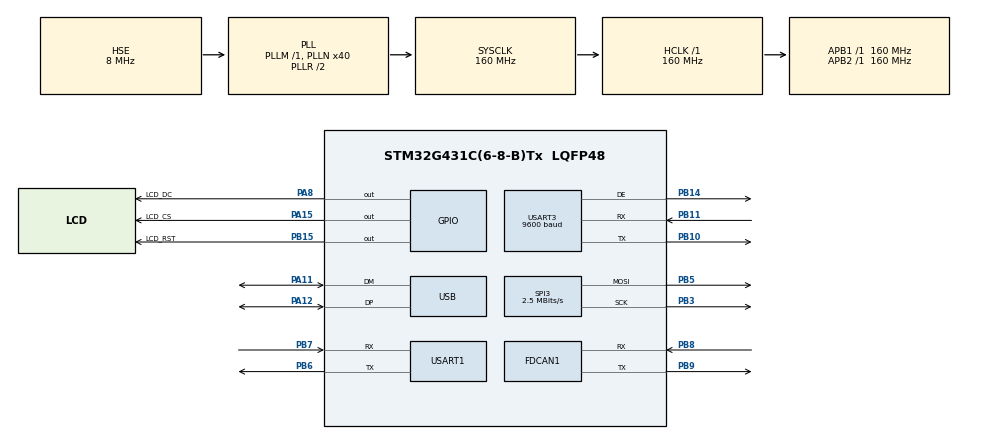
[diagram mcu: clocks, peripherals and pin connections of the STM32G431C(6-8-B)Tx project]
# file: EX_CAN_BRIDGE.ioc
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FDCAN1.CalculateBaudRateNominal=500000
FDCAN1.CalculateTimeBitNominal=2000
FDCAN1.CalculateTimeQuantumNominal=100.0
FDCAN1.ClockDivider=FDCAN_CLOCK_DIV2
FDCAN1.FrameFormat=FDCAN_FRAME_FD_BRS
FDCAN1.Mode=FDCAN_MODE_NORMAL
FDCAN1.NominalPrescaler=8
FDCAN1.NominalTimeSeg1=13
FDCAN1.NominalTimeSeg2=6
FDCAN1.StdFiltersNbr=1
Mcu.Family=STM32G4
Mcu.Name=STM32G431C(6-8-B)Tx
Mcu.Package=LQFP48
NVIC.FDCAN1_IT0_IRQn=true\:0\:0\:false\:false\:true\:true\:true\:true
NVIC.FDCAN1_IT1_IRQn=true\:0\:0\:false\:false\:true\:true\:true\:true
NVIC.PriorityGroup=NVIC_PRIORITYGROUP_4
NVIC.USART1_IRQn=true\:0\:0\:false\:false\:true\:true\:true\:true
NVIC.USART3_IRQn=true\:0\:0\:false\:false\:true\:true\:true\:true
PA11.Mode=Device
PA11.Signal=USB_DM
PA12.Mode=Device
PA12.Signal=USB_DP
PA15.GPIO_Label=LCD_CS
PA15.Signal=GPIO_Output
PA8.GPIO_Label=LCD_DC
PA8.Signal=GPIO_Output
PB10.Mode=Asynchronous
PB10.Signal=USART3_TX
PB11.Mode=Asynchronous
PB11.Signal=USART3_RX
PB14.Mode=Hardware Flow Control (RS485)
PB14.Signal=USART3_DE
PB15.GPIO_Label=LCD_RST
PB15.Signal=GPIO_Output
PB3.Mode=TX_Only_Simplex_Unidirect_Master
PB3.Signal=SPI3_SCK
PB5.Mode=TX_Only_Simplex_Unidirect_Master
PB5.Signal=SPI3_MOSI
PB6.Mode=Asynchronous
PB6.Signal=USART1_TX
PB7.Mode=Asynchronous
PB7.Signal=USART1_RX
PB8-BOOT0.Mode=FDCAN_Activate
PB8-BOOT0.Signal=FDCAN1_RX
PB9.Mode=FDCAN_Activate
PB9.Signal=FDCAN1_TX
PF0-OSC_IN.Mode=HSE-External-Oscillator
PF0-OSC_IN.Signal=RCC_OSC_IN
PF1-OSC_OUT.Mode=HSE-External-Oscillator
PF1-OSC_OUT.Signal=RCC_OSC_OUT
ProjectManager.HeapSize=0x200
ProjectManager.StackSize=0x400
ProjectManager.TargetToolchain=STM32CubeIDE
RCC.ADC12Freq_Value=160000000
RCC.AHBFreq_Value=160000000
RCC.APB1Freq_Value=160000000
RCC.APB1TimFreq_Value=160000000
RCC.APB2Freq_Value=160000000
RCC.APB2TimFreq_Value=160000000
RCC.CK48CLockSelection=RCC_USBCLKSOURCE_HSI48
RCC.CortexFreq_Value=160000000
RCC.EXTERNAL_CLOCK_VALUE=12288000
RCC.HCLKFreq_Value=160000000
RCC.HSE_VALUE=8000000
RCC.HSI48_VALUE=48000000
RCC.HSI_VALUE=16000000
RCC.LSE_VALUE=32768
RCC.PLLN=40
RCC.PLLSourceVirtual=RCC_PLLSOURCE_HSE
RCC.SYSCLKFreq_VALUE=160000000
RCC.SYSCLKSource=RCC_SYSCLKSOURCE_PLLCLK
RCC.USBFreq_Value=48000000
RCC.VCOOutputFreq_Value=320000000
SPI3.BaudRatePrescaler=SPI_BAUDRATEPRESCALER_64
SPI3.CalculateBaudRate=2.5 MBits/s
SPI3.DataSize=SPI_DATASIZE_8BIT
SPI3.Direction=SPI_DIRECTION_2LINES
SPI3.Mode=SPI_MODE_MASTER
SPI3.VirtualType=VM_MASTER
USART1.VirtualMode-Asynchronous=VM_ASYNC
USART3.BaudRate=9600
USART3.VirtualMode-Asynchronous=VM_ASYNC
USART3.VirtualMode-Hardware\ Flow\ Control\ (RS485)=VM_ASYNC
VP_SYS_VS_DBSignals.Mode=DisableDeadBatterySignals
board=custom

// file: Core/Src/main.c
/* USER CODE BEGIN Header */
/**
 ******************************************************************************
 * @file           : main.c
 * @brief          : Main program body - Modbus RTU to FDCAN Bridge
 ******************************************************************************
 * @attention
 *
 * Copyright (c) 2025 STMicroelectronics.
 * All rights reserved.
 *
 * This software is licensed under terms that can be found in the LICENSE file
 * in the root directory of this software component.
 * If no LICENSE file comes with this software, it is provided AS-IS.
 *
 ******************************************************************************
 */
/*
 * JXBS-J001-FS-RS 풍량센서 (Modbus RTU) ↔ FDCAN 브릿지
 * Modbus RTU 프로토콜로 풍량센서와 통신하여 FDCAN으로 전송
 */
/* USER CODE END Header */
#include "main.h"
#include "fdcan.h"
#include "spi.h"
#include "usart.h"
#include "usb.h"
#include "gpio.h"
/* USER CODE BEGIN Includes */
#include "oled.h"
#include "font.h"
#include <stdio.h>
#include <string.h>
/* USER CODE END Includes */
/* USER CODE BEGIN PD */

/* Modbus RTU 프로토콜 정의 */
#define MODBUS_SLAVE_ADDR       0x01    // 풍량센서 기본 주소
#define MODBUS_FUNC_READ_HOLD   0x03    // Modbus 기능코드 (0x03은 레지스터 읽기)
/* 풍량센서 레지스터 주소 */
#define WIND_SPEED_REG          0x0000  // 풍속 레지스터 (데이터 시트 참조)
// 위 세 값을 기반으로 센서에게 데이터 요청!!

/* 프레임 크기 정의 */
#define MODBUS_REQUEST_SIZE     8       // 모드버스 요청 프레임 크기
#define MODBUS_RESPONSE_MAX     256     // 모드버스 응답 최대 크기

/* USER CODE END PD */
/* USER CODE BEGIN PV */

/* Modbus RTU 요청 프레임 구조체 */
typedef struct
{
    uint8_t slave_addr;      // 슬레이브 주소
    uint8_t function_code;   // 기능 코드
    uint16_t start_addr;     // 시작 레지스터 주소 (빅엔디안)
    uint16_t register_count; // 레지스터 개수 (빅엔디안) ( 풍속값만 받아올것이므로 사실상 1 )
    uint16_t crc;           // CRC16 (리틀엔디안) (빅엔디안도 상관없지만, 공식적으로는 이렇게 쓰고있습니다.)
} __attribute__((packed)) Modbus_Request_t;

/* Modbus RTU 응답 프레임 구조체 */
typedef struct
{
    uint8_t slave_addr;     // 슬레이브 주소
    uint8_t function_code;  // 기능 코드
    uint8_t byte_count;     // 데이터 바이트 수
    uint8_t data[64];       // 레지스터 데이터
    uint16_t crc;          // CRC16 (리틀엔디안)
} __attribute__((packed)) Modbus_Response_t;

// 센서 데이터 저장
typedef struct
{
    float wind_speed;    // 풍속 (m/s)
    float temperature;   // 온도 (°C)
    uint32_t timestamp;  // 타임스탬프
    uint8_t valid;       // 데이터 유효성
} Wind_Sensor_Data_t; //센서에서 읽어온 데이터를 저장하는 구조체입니다.

Wind_Sensor_Data_t sensor_data = {0}; // 센서 데이터를 저장

// Modbus RTU 관련 변수
uint8_t modbus_rx_buffer[MODBUS_RESPONSE_MAX]; // UART로 받은 Modbus 응답을 저장하는 버퍼
static uint16_t modbus_rx_index = 0; // 현재 버퍼에 저장된 바이트 수
static uint8_t modbus_frame_ready = 0; // 완전한 프레임을 받았는지 표시
static uint8_t rx_byte; // UART 인터럽트로 받은 1바이트

// OLED 표시용
char buf[32];

volatile uint32_t last_rx_time = 0; // 마지막 수신 시간 (타임아웃 체크용)

/* USER CODE END PV */
void SystemClock_Config(void);
/* USER CODE BEGIN PFP */

HAL_StatusTypeDef Send_Modbus_Request(uint8_t slave_addr, uint8_t func_code, uint16_t start_addr, uint16_t reg_count);
HAL_StatusTypeDef Process_Modbus_Response(uint8_t* response_data, uint16_t length);
HAL_StatusTypeDef Bridge_Sensor_to_FDCAN(Wind_Sensor_Data_t* sensor_data);
static uint16_t Calculate_Modbus_CRC16(uint8_t *data, uint16_t length);
void Request_Sensor_Data(void);
void Parse_Wind_Sensor_Response(Modbus_Response_t* response);
void Output_Sensor_Data_UART1(Wind_Sensor_Data_t* data);

/* USER CODE END PFP */
/* USER CODE BEGIN 0 */

// printf 함수 리디렉션
int __io_putchar(int ch) {
    (void) HAL_UART_Transmit(&huart1, (uint8_t*) &ch, 1, 100);
    return ch;
}

// CAN 관련
void FDCAN_Init(void)
{
    FDCAN_FilterTypeDef sFilterConfig = { 0 };
    sFilterConfig.IdType = FDCAN_STANDARD_ID;
    sFilterConfig.FilterIndex = 0;
    sFilterConfig.FilterType = FDCAN_FILTER_MASK;
    sFilterConfig.FilterConfig = FDCAN_FILTER_TO_RXFIFO0;
    sFilterConfig.FilterID1 = 0x500; // 받고싶은 id
    sFilterConfig.FilterID2 = 0x7FF; // 11비트 모두 비교
    if (HAL_FDCAN_ConfigFilter(&hfdcan1, &sFilterConfig) != HAL_OK)
    {
        Error_Handler();
    }
    // CAN 실행
    HAL_StatusTypeDef result;
    result = HAL_FDCAN_Start(&hfdcan1);
    if (result != HAL_OK)
    {
        printf("FDCAN Start 실패\r\n");
    }
    result = HAL_FDCAN_ActivateNotification(&hfdcan1,
            FDCAN_IT_RX_FIFO0_NEW_MESSAGE, 0);
    if (result != HAL_OK)
    {
        printf("FDCAN Notification 등록 실패\r\n");
    }
}

// ================= Modbus RTU 관련 ==========================
/* Modbus RTU CRC16 계산 함수 */
static uint16_t Calculate_Modbus_CRC16(uint8_t *data, uint16_t length)
{
    uint16_t crc = 0xFFFF; // 1111 1111 1111 1111
    for (uint16_t i = 0; i < length; i++) // 들어온 모든 데이터에 대해..
    {
        crc ^= data[i]; // 0xFFFF 와 XOR 연산
        for (uint8_t bit = 0; bit < 8; bit++) // 모든 비트에 대해 ..
        {
            if (crc & 0x0001) // LSB가 1이라면..
            {
                crc = (crc >> 1) ^ 0xA001; // 오른쪽 쉬프트 한칸 -> 0xA001과 XOR연산
            }
            else
            {
                crc = crc >> 1; // LSB가 0이라면... 쉬프트만...
            }
        }
    }
    return crc;
}

/* Modbus RTU 요청 전송 */
HAL_StatusTypeDef Send_Modbus_Request(uint8_t slave_addr, uint8_t func_code, uint16_t start_addr, uint16_t reg_count)
{
    uint8_t request_frame[MODBUS_REQUEST_SIZE];
    uint16_t crc;

    // 프레임 구성
    request_frame[0] = slave_addr;
    request_frame[1] = func_code;
    request_frame[2] = (start_addr >> 8) & 0xFF;    // 시작 주소 상위 바이트
    request_frame[3] = start_addr & 0xFF;           // 시작 주소 하위 바이트
    request_frame[4] = (reg_count >> 8) & 0xFF;     // 레지스터 개수 상위 바이트
    request_frame[5] = reg_count & 0xFF;            // 레지스터 개수 하위 바이트

    // CRC 계산 (첫 6바이트에 대해)
    crc = Calculate_Modbus_CRC16(request_frame, 6);

    request_frame[6] = crc & 0xFF;          // CRC 하위 바이트 (리틀엔디안)
    request_frame[7] = (crc >> 8) & 0xFF;   // CRC 상위 바이트

    // UART3(RS485)로 전송
    HAL_StatusTypeDef status = HAL_UART_Transmit(&huart3, request_frame, MODBUS_REQUEST_SIZE, 1000);
    if (status == HAL_OK)
    {
        printf("Modbus Request Success!r\n");
    }
    else
    {
        printf("Modbus Request Failed: Status=%d\r\n", status);
    }
    return status;
}

/* Modbus RTU 응답 처리 */
HAL_StatusTypeDef Process_Modbus_Response(uint8_t* response_data, uint16_t length)
{
    if (length < 5)
    {
    	return HAL_ERROR; // 최소 프레임 크기 , 데이터가 없다고 해도 반드시 8바이트중 5바이트는 지켜져야 프레임이된다.
    }

    Modbus_Response_t* response = (Modbus_Response_t*)response_data;

    // 🔧 CRC 검증 - Modbus RTU는 CRC를 리틀 엔디안으로 전송
    uint16_t calc_crc = Calculate_Modbus_CRC16(response_data, length - 2); // crc 제외!! 그래서 2를 뺌!

    // 🔧 리틀 엔디안으로 CRC 읽기 (하위바이트 먼저)
    uint16_t recv_crc = response_data[length-2] | (response_data[length-1] << 8);

    if (calc_crc != recv_crc)
    {
        // 🔧 반대 엔디안으로도 시도해보기
        uint16_t recv_crc_alt = (response_data[length-2] << 8) | response_data[length-1];
        printf("[CRC DEBUG] Trying Big-Endian: 0x%04X\r\n", recv_crc_alt);
        if (calc_crc == recv_crc_alt)
        {
            printf("[CRC INFO] CRC matched with Big-Endian!\r\n");
            recv_crc = recv_crc_alt;  // 빅 엔디안이 맞음
        }
        else
        {
            printf("Modbus CRC Error: Calc=0x%04X, Recv=0x%04X, Alt=0x%04X\r\n",
                   calc_crc, recv_crc, recv_crc_alt);
            return HAL_ERROR;
        }
    }
    // 슬레이브 주소 확인
    if (response->slave_addr != MODBUS_SLAVE_ADDR)
    {
        printf("Wrong Slave Address: 0x%02X\r\n", response->slave_addr);
        return HAL_ERROR;
    }
    printf("[SUCCESS] CRC OK! Processing sensor data...\r\n");
    // 풍량센서 응답 파싱
    Parse_Wind_Sensor_Response(response);
    return HAL_OK;
}

/* 풍량센서 데이터 요청 */
void Request_Sensor_Data(void)
{
    // 풍속과 온도 데이터 요청 (위에서 define했던 값 세개!!! (레지스터는 두개))
    Send_Modbus_Request(MODBUS_SLAVE_ADDR, MODBUS_FUNC_READ_HOLD, WIND_SPEED_REG, 2);
}

/* 풍량센서 응답 데이터 파싱 */
void Parse_Wind_Sensor_Response(Modbus_Response_t* response)
{
    if (response->function_code == MODBUS_FUNC_READ_HOLD && response->byte_count >= 4)
    {
        // 풍속 데이터 (첫 번째 레지스터)
        uint16_t wind_raw = (response->data[0] << 8) | response->data[1];
        sensor_data.wind_speed = wind_raw * 0.1f; // 0.1 m/s 단위
        sensor_data.timestamp = HAL_GetTick();
        sensor_data.valid = 1;
        printf("Wind Speed: %.1f m/s",sensor_data.wind_speed);

        // FDCAN으로 전송
        Bridge_Sensor_to_FDCAN(&sensor_data);
    }
}

/* 센서 데이터를 FDCAN으로 전송 */
HAL_StatusTypeDef Bridge_Sensor_to_FDCAN(Wind_Sensor_Data_t* sensor_data)
{
    if (!sensor_data->valid)
    {
    	return HAL_ERROR;
    }

    uint8_t can_data[8];

    // 풍속 데이터 (2바이트, 기본적으로 0.1 m/s 단위로 레지스터에 기록한다고 함.)
    uint16_t wind_data = (uint16_t)(sensor_data->wind_speed * 10);

    can_data[0] = (wind_data >> 8) & 0xFF; // 풍속 데이터 16비트중 상위 8비트!!
    can_data[1] = wind_data & 0xFF; // 풍속 데이터 16비트중 하위 8비트!!

    // 본 예제에서는 풍속 외 온도등은 사용하지 않습니다.
    can_data[2] = 0 & 0xFF;
    can_data[3] = 0 & 0xFF;

    // 타임스탬프 (4바이트)
    can_data[4] = (sensor_data->timestamp >> 24) & 0xFF;
    can_data[5] = (sensor_data->timestamp >> 16) & 0xFF;
    can_data[6] = (sensor_data->timestamp >> 8) & 0xFF;
    can_data[7] = sensor_data->timestamp & 0xFF;

    // FDCAN 헤더 설정
    FDCAN_TxHeaderTypeDef TxHeader;

    // 보내는 CanId 등..
    TxHeader.Identifier = 0x501; // 풍량센서 전용 CAN ID
    TxHeader.IdType = FDCAN_STANDARD_ID;
    TxHeader.TxFrameType = FDCAN_DATA_FRAME;
    TxHeader.DataLength = FDCAN_DLC_BYTES_8;
    TxHeader.ErrorStateIndicator = FDCAN_ESI_ACTIVE;
    TxHeader.BitRateSwitch = FDCAN_BRS_OFF;
    TxHeader.FDFormat = FDCAN_CLASSIC_CAN;
    TxHeader.TxEventFifoControl = FDCAN_NO_TX_EVENTS;
    TxHeader.MessageMarker = 0;
    HAL_StatusTypeDef status = HAL_FDCAN_AddMessageToTxFifoQ(&hfdcan1, &TxHeader, can_data);
    if (status == HAL_OK) {

        printf("CAN SENT!!\r\n");
    }
    return status;
}
/* USER CODE END 0 */
int main(void)
{
  /* MCU Configuration--------------------------------------------------------*/
  /* Reset of all peripherals, Initializes the Flash interface and the Systick. */
  HAL_Init();
  /* Configure the system clock */
  SystemClock_Config();
  /* Initialize all configured peripherals */
  MX_GPIO_Init();
  MX_FDCAN1_Init();
  MX_USB_PCD_Init();
  MX_SPI3_Init();
  MX_USART3_UART_Init();
  MX_USART1_UART_Init();
  /* USER CODE BEGIN 2 */
  FDCAN_Init();
  // Modbus RTU 수신 시작
  HAL_UART_Receive_IT(&huart3, &rx_byte, 1);
  OLED_init();
  OLED_fill(0);
  oled_drawString(0, 0, "Modbus Monitor", &font_07x10, 15);      // ✨ 제목 변경
  oled_drawString(0, 20, "Wind Speed:", &font_07x10, 15);         // CAN 수신용
  oled_drawString(0, 50, "CAN ID: 0x501", &font_07x10, 15);            // ✨ CAN ID 표시 추가
  printf("Modbus RTU Bridge Started!\r\n");
  /* USER CODE END 2 */
  /* Infinite loop */
  /* USER CODE BEGIN WHILE */

  uint32_t last_request_time = 0;

  while (1) {

	     // 1초마다 센서 데이터 요청
	     if (HAL_GetTick() - last_request_time >= 1000)
	     {
	         // 이전 데이터 정리
	         modbus_rx_index = 0;
	         modbus_frame_ready = 0;
	         Request_Sensor_Data();
	         last_request_time = HAL_GetTick();
	         last_rx_time = HAL_GetTick(); // 타이밍 리셋
	     }
	     // 타이밍 기반 프레임 완료 검출 (50ms 타임아웃)
	     if (modbus_rx_index > 0 && !modbus_frame_ready &&
	         (HAL_GetTick() - last_rx_time > 50)) {
	         modbus_frame_ready = 1;
	         printf("\r\n[TIMEOUT] Frame complete by timeout: %d bytes\r\n", modbus_rx_index);
	     }
	     // Modbus 응답 처리
	     if (modbus_frame_ready) {
	         printf("\r\n[INFO] ===== Modbus frame ready, length: %d =====\r\n", modbus_rx_index);
	         // Raw 데이터 출력
	         printf("[RAW] ");
	         for (int i = 0; i < modbus_rx_index; i++) {
	             printf("%02X ", modbus_rx_buffer[i]);
	         }
	         printf("\r\n");
	         // 최소 길이 체크 (5바이트 이상)
	         if (modbus_rx_index >= 5) {
	             Process_Modbus_Response(modbus_rx_buffer, modbus_rx_index);
	         } else {
	             printf("[ERROR] Frame too short: %d bytes\r\n", modbus_rx_index);
	         }
	         // 버퍼 리셋
	         modbus_rx_index = 0;
	         modbus_frame_ready = 0;
	         memset(modbus_rx_buffer, 0, sizeof(modbus_rx_buffer));
	     }
	     // OLED 업데이트 (기존과 동일)
	     if (sensor_data.valid) {
	         snprintf(buf, sizeof(buf), "%.1f m/s", sensor_data.wind_speed);
	         oled_drawString(80, 20, buf, &font_07x10, 15);
	     } else {
	         oled_drawString(80, 20, "WAIT...", &font_07x10, 15);
	         oled_drawString(0, 40, "CAN Transmitting......", &font_07x10, 15);
	     }
    /* USER CODE END WHILE */
  }
}
void SystemClock_Config(void)
{
  RCC_OscInitTypeDef RCC_OscInitStruct = {0};
  RCC_ClkInitTypeDef RCC_ClkInitStruct = {0};
  /** Configure the main internal regulator output voltage
  */
  HAL_PWREx_ControlVoltageScaling(PWR_REGULATOR_VOLTAGE_SCALE1_BOOST);
  /** Initializes the RCC Oscillators according to the specified parameters
  * in the RCC_OscInitTypeDef structure.
  */
  RCC_OscInitStruct.OscillatorType = RCC_OSCILLATORTYPE_HSI48|RCC_OSCILLATORTYPE_HSE;
  RCC_OscInitStruct.HSEState = RCC_HSE_ON;
  RCC_OscInitStruct.HSI48State = RCC_HSI48_ON;
  RCC_OscInitStruct.PLL.PLLState = RCC_PLL_ON;
  RCC_OscInitStruct.PLL.PLLSource = RCC_PLLSOURCE_HSE;
  RCC_OscInitStruct.PLL.PLLM = RCC_PLLM_DIV1;
  RCC_OscInitStruct.PLL.PLLN = 40;
  RCC_OscInitStruct.PLL.PLLP = RCC_PLLP_DIV2;
  RCC_OscInitStruct.PLL.PLLQ = RCC_PLLQ_DIV2;
  RCC_OscInitStruct.PLL.PLLR = RCC_PLLR_DIV2;
  if (HAL_RCC_OscConfig(&RCC_OscInitStruct) != HAL_OK)
  {
    Error_Handler();
  }
  /** Initializes the CPU, AHB and APB buses clocks
  */
  RCC_ClkInitStruct.ClockType = RCC_CLOCKTYPE_HCLK|RCC_CLOCKTYPE_SYSCLK
                              |RCC_CLOCKTYPE_PCLK1|RCC_CLOCKTYPE_PCLK2;
  RCC_ClkInitStruct.SYSCLKSource = RCC_SYSCLKSOURCE_PLLCLK;
  RCC_ClkInitStruct.AHBCLKDivider = RCC_SYSCLK_DIV1;
  RCC_ClkInitStruct.APB1CLKDivider = RCC_HCLK_DIV1;
  RCC_ClkInitStruct.APB2CLKDivider = RCC_HCLK_DIV1;
  if (HAL_RCC_ClockConfig(&RCC_ClkInitStruct, FLASH_LATENCY_4) != HAL_OK)
  {
    Error_Handler();
  }
}
/* USER CODE BEGIN 4 */

// UART 수신 콜백 수정 ( UART3 == 센서 )
void HAL_UART_RxCpltCallback(UART_HandleTypeDef *huart)
{
    if (huart->Instance == USART3)
    {
    	last_rx_time = 0;

        // 수신된 바이트 저장
        modbus_rx_buffer[modbus_rx_index++] = rx_byte;
        last_rx_time = HAL_GetTick();
        // 7바이트 강제 완료 제거 - 타이밍으로만 판단
        if (modbus_rx_index >= sizeof(modbus_rx_buffer) - 1)
        {
            modbus_frame_ready = 1;
            printf("\r\n[DEBUG] Buffer full, frame ready\r\n");
        }
        // 다음 바이트 수신 준비
        HAL_UART_Receive_IT(&huart3, &rx_byte, 1);
    }
}
/* USER CODE END 4 */
void Error_Handler(void)
{
  __disable_irq();
  while (1) {
  }
}
